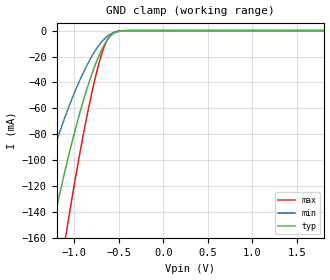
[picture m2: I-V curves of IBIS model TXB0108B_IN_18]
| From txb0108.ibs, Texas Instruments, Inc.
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[Model]   TXB0108B_IN_18
Model_type  Input
Vinl=0.5775
Vinh=1.2675
| variable   typ   min   max
C_comp   5.84pF   5.10pF   6.36pF
[Temperature Range]   40   100   -40
| Ambient temperature   25   85   -40
[Voltage range]   1.8   1.65   1.95
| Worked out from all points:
|   GND clamp passes 1 mA (typ) near -0.52 V on its own axis
[GND Clamp]
| TXB0108B_IN_18
|   Voltage   I(typ)   I(min)   I(max)
-1.8V     -355.3mA   -234mA     -504.2mA
-1.505V   -241.3mA   -154.9mA   -351.3mA
-1.265V   -157.7mA   -98.94mA   -234.2mA
-1.245V   -151.2mA   -94.68mA   -224.9mA
-1.09V    -103.8mA   -63.95mA   -155.7mA
-920mV    -58.97mA   -35.51mA   -87.79mA
-800mV    -32.86mA   -19.37mA   -46.88mA
-700mV    -15.73mA   -9.203mA   -19.57mA
-605mV    -4.994mA   -3.157mA   -4.512mA
-540mV    -1.532mA   -1.123mA   -968.8uA
-410mV    -64.9uA    -71.9uA    -15.27uA
1.8V      200.2pA    1.037nA    15.59pA
